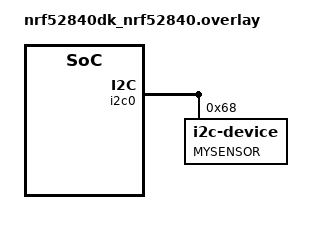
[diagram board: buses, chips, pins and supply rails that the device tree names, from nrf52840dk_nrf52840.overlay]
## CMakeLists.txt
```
cmake_minimum_required(VERSION 3.20.0)
find_package(Zephyr REQUIRED HINTS $ENV{ZEPHYR_BASE})

project(bare-i2c-testing)

target_sources(app PRIVATE src/main.c)

#external modules
add_subdirectory(src/raafat-bmi323)
add_subdirectory(src/bmi323)
```

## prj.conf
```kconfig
CONFIG_I2C=y


CONFIG_LOG=y
# CONFIG_LOG_MODE_MINIMAL=n
CONFIG_LOG_BACKEND_RTT=y
CONFIG_PRINTK=y


CONFIG_CLOCK_CONTROL_NRF_K32SRC_RC=y
CONFIG_CLOCK_CONTROL_NRF_K32SRC_250PPM=y
CONFIG_CLOCK_CONTROL_NRF_K32SRC_RC_CALIBRATION=y
CONFIG_CLOCK_CONTROL_NRF_CALIBRATION_MAX_SKIP=0
# CONFIG_CLOCK_CONTROL_NRF_CALIBRATION_LF_ALWAYS_ON=y

CONFIG_NFCT_PINS_AS_GPIOS=y


CONFIG_BOARD_ENABLE_DCDC=n
```

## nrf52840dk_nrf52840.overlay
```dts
// To get started, press Ctrl+Space to bring up the completion menu and view the available nodes.

// You can also use the buttons in the sidebar to perform actions on nodes.
// Actions currently available include:

// * Enabling / disabling the node
// * Adding the bus to a bus
// * Removing the node
// * Connecting ADC channels

// For more help, browse the DeviceTree documentation at https://docs.zephyrproject.org/latest/guides/dts/index.html
// You can also visit the nRF DeviceTree extension documentation at https://nrfconnect.github.io/vscode-nrf-connect/devicetree/nrfdevicetree.html

&i2c0 {
    mysensor: mysensor@68{
        compatible = "i2c-device";
        reg = < 0x68 >;
        label = "MYSENSOR";
    };
};
```

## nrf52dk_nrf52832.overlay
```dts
// To get started, press Ctrl+Space to bring up the completion menu and view the available nodes.

// You can also use the buttons in the sidebar to perform actions on nodes.
// Actions currently available include:

// * Enabling / disabling the node
// * Adding the bus to a bus
// * Removing the node
// * Connecting ADC channels

// For more help, browse the DeviceTree documentation at https://docs.zephyrproject.org/latest/guides/dts/index.html
// You can also visit the nRF DeviceTree extension documentation at https://nrfconnect.github.io/vscode-nrf-connect/devicetree/nrfdevicetree.html
&i2c0 {
    mysensor: mysensor@68{
        compatible = "i2c-device";
        reg = < 0x68 >;
        label = "MYSENSOR";
    };
};
```

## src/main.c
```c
#include <zephyr/kernel.h>
#define LOG_LEVEL 4
#include <zephyr/logging/log.h>
LOG_MODULE_REGISTER(main);

#include "bmi323.h"

int main(void)
{
        int ret =  0;
        k_sleep(K_SECONDS(1));
        bmi323_init();
        bmi323_soft_reset();
        while(true)
        {
                // bmi323_read_acc();
                bmi323_read_gyro();
                k_sleep(K_MSEC(10));
        }

        return ret;

}
```
